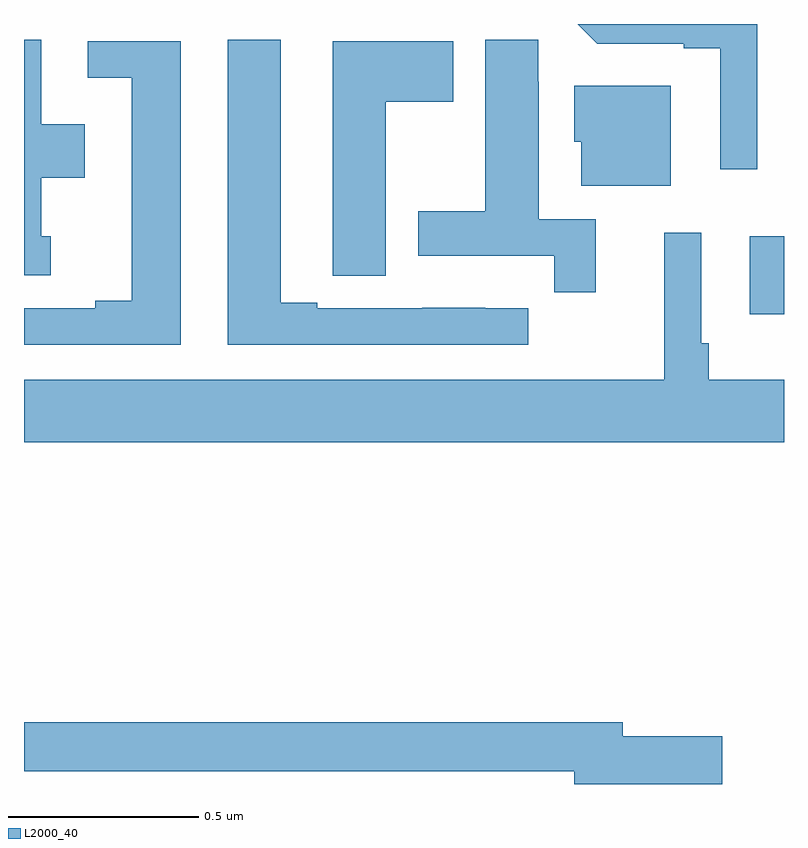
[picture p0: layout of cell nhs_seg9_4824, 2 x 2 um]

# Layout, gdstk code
import gdstk
lib = gdstk.Library(unit=1e-6, precision=1e-09)
def R(c, l, rs):  # rectangles x0, y0, x1, y1
    for r in rs: c.add(gdstk.rectangle(r[:2], r[2:], *l))
def P(c, l, *ps):  # polygons
    for p in ps: c.add(gdstk.Polygon(p, *l))
L2000_40 = (2000, 40)

nhs_seg9_4824 = lib.new_cell('nhs_seg9_4824')
R(nhs_seg9_4824, L2000_40, [(172.91,1216.736,173,1216.942)])
P(nhs_seg9_4824, L2000_40, [(172.929,1217.5),(172.457,1217.5),(172.509,1217.448),(172.736,1217.448),(172.736,1217.436),(172.832,1217.436),(172.832,1217.118),(172.929,1217.118)],
  [(171.07,1216.941),(171.046,1216.941),(171.046,1217.096),(171.16,1217.096),(171.16,1217.236),(171.046,1217.236),(171.046,1217.459),(171,1217.459),(171,1216.839),(171.07,1216.839)],
  [(172.327,1216.752),(172.214,1216.752),(172.214,1216.753),(172.048,1216.753),(172.048,1216.752),(171.772,1216.752),(171.772,1216.767),(171.676,1216.767),(171.676,1217.459),(171.536,1217.459),(171.536,1216.656),(172.327,1216.656)],
  [(172.505,1216.986),(172.354,1216.986),(172.354,1217.348),(172.353,1217.348),(172.353,1217.459),(172.214,1217.459),(172.214,1217.007),(172.037,1217.007),(172.037,1216.89),(172.396,1216.89),(172.396,1216.794),(172.505,1216.794)],
  [(171.952,1217.296),(172.129,1217.296),(172.129,1217.455),(171.812,1217.455),(171.812,1216.945),(171.813,1216.945),(171.813,1216.837),(171.952,1216.837)],
  [(171.412,1217.454),(171.168,1217.454),(171.168,1217.358),(171.284,1217.358),(171.284,1216.772),(171.188,1216.772),(171.188,1216.752),(171,1216.752),(171,1216.656),(171.412,1216.656)],
  [(172.702,1217.338),(172.448,1217.338),(172.448,1217.19),(172.466,1217.19),(172.466,1217.075),(172.702,1217.075)],
  [(173,1216.564),(172.802,1216.564),(172.802,1216.66),(172.782,1216.66),(172.782,1216.951),(172.685,1216.951),(172.685,1216.564),(171,1216.564),(171,1216.4),(173,1216.4)],
  [(172.837,1215.626),(172.576,1215.626),(172.576,1215.662),(171,1215.662),(171,1215.534),(172.448,1215.534),(172.448,1215.5),(172.837,1215.5)])

lib.write_gds('nhs_seg9_4824.gds')
